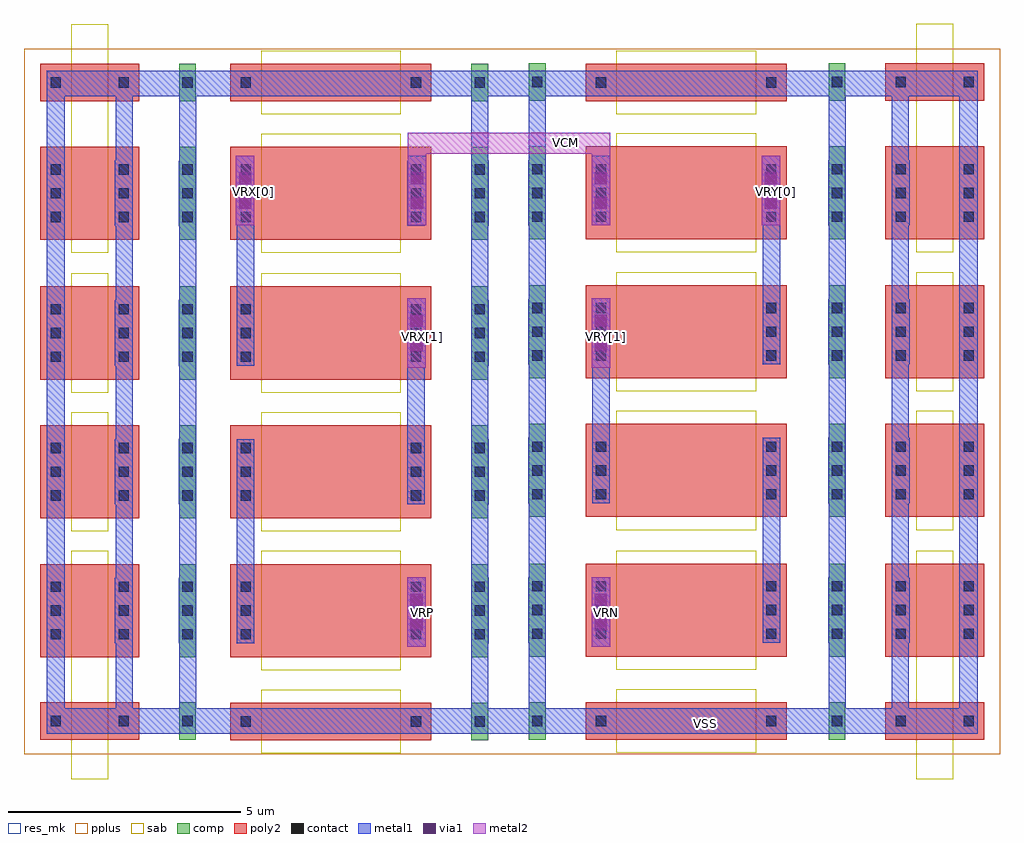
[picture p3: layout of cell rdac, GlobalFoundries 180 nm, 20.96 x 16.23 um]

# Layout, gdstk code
import gdstk
lib = gdstk.Library(unit=1e-6, precision=5e-09)
def R(c, l, rs):  # rectangles x0, y0, x1, y1
    for r in rs: c.add(gdstk.rectangle(r[:2], r[2:], *l))
def A(c, l, x, y, w, h, nx, ny, dx, dy):  # array of equal rectangles
    R(c, l, [(x+i*dx, y+j*dy, x+i*dx+w, y+j*dy+h) for i in range(nx) for j in range(ny)])
comp = (22, 0)
poly2 = (30, 0)
pplus = (31, 0)
contact = (33, 0)
metal1 = (34, 0)
via1 = (35, 0)
metal2 = (36, 0)
sab = (49, 0)
res_mk = (110, 5)

rdac = lib.new_cell('rdac')
A(rdac, comp, -0.96, -5.615, 0.36, 2, 1, 3, 0, 2.98)
A(rdac, comp, 0.27, -2.605, 0.36, 2, 1, 3, 0, 2.98)
R(rdac, comp, [(-0.96,-7.395,-0.6,-6.595), (-7.24,-7.385,-6.88,-6.585), (0.27,-7.385,0.63,-6.585), (6.71,-7.385,7.07,-6.585), (-7.24,-5.615,-6.88,-3.615), (0.27,-5.605,0.63,-3.605), (6.71,-5.605,7.07,-3.605), (6.71,-5.605,7.07,-3.605), (-7.24,-2.635,-6.88,-0.635), (-7.24,-2.635,-6.88,-0.635), (6.71,-2.605,7.07,-0.605), (6.71,-2.605,7.07,-0.605), (-7.24,0.345,-6.88,2.345), (-7.24,0.345,-6.88,2.345), (6.71,0.375,7.07,2.375), (6.71,0.375,7.07,2.375), (-7.24,3.345,-6.88,5.345), (-7.24,3.345,-6.88,5.345), (-0.96,3.345,-0.6,5.345), (6.71,3.355,7.07,5.355), (-7.24,6.325,-6.88,7.125), (-0.96,6.325,-0.6,7.125), (0.27,6.335,0.63,7.135), (6.71,6.335,7.07,7.135)])
A(rdac, poly2, -6.14, -5.615, 4.32, 2, 1, 3, 0, 2.98)
A(rdac, poly2, 1.49, -2.605, 4.32, 2, 1, 3, 0, 2.98)
R(rdac, poly2, [(-6.14,-7.395,-1.82,-6.595), (-10.22,-7.385,-8.1,-6.585), (1.49,-7.385,5.81,-6.585), (7.93,-7.385,10.05,-6.585), (-10.22,-5.615,-8.1,-3.615), (1.49,-5.605,5.81,-3.605), (7.93,-5.605,10.05,-3.605), (7.93,-5.605,10.05,-3.605), (-10.22,-2.635,-8.1,-0.635), (-10.22,-2.635,-8.1,-0.635), (7.93,-2.605,10.05,-0.605), (7.93,-2.605,10.05,-0.605), (-10.22,0.345,-8.1,2.345), (-10.22,0.345,-8.1,2.345), (7.93,0.375,10.05,2.375), (7.93,0.375,10.05,2.375), (-10.22,3.345,-8.1,5.345), (-10.22,3.345,-8.1,5.345), (-6.14,3.345,-1.82,5.345), (7.93,3.355,10.05,5.355), (-10.22,6.325,-8.1,7.125), (-6.14,6.325,-1.82,7.125), (1.49,6.325,5.81,7.125), (7.93,6.335,10.05,7.135)])
A(rdac, pplus, -6.44, -5.915, 4.92, 2.6, 1, 3, 0, 2.98)
A(rdac, pplus, -1.12, -5.775, 0.68, 2.32, 1, 3, 0, 2.98)
A(rdac, pplus, 1.19, -2.905, 4.92, 2.6, 1, 3, 0, 2.98)
A(rdac, pplus, 0.11, -2.765, 0.68, 2.32, 1, 3, 0, 2.98)
R(rdac, pplus, [(-10.57,-7.705,10.39,7.455), (-6.44,-7.695,-1.52,-6.295), (-10.52,-7.685,-7.8,-6.285), (1.19,-7.685,6.11,-6.285), (7.63,-7.685,10.35,-6.285), (-1.12,-7.555,-0.44,-6.435), (-7.4,-7.545,-6.72,-6.425), (0.11,-7.545,0.79,-6.425), (6.55,-7.545,7.23,-6.425), (-10.52,-5.915,-7.8,-3.315), (1.19,-5.905,6.11,-3.305), (7.63,-5.905,10.35,-3.305), (7.63,-5.905,10.35,-3.305), (-7.4,-5.775,-6.72,-3.455), (0.11,-5.765,0.79,-3.445), (6.55,-5.765,7.23,-3.445), (6.55,-5.765,7.23,-3.445), (-10.52,-2.935,-7.8,-0.335), (-10.52,-2.935,-7.8,-0.335), (7.63,-2.905,10.35,-0.305), (7.63,-2.905,10.35,-0.305), (-7.4,-2.795,-6.72,-0.475), (-7.4,-2.795,-6.72,-0.475), (6.55,-2.765,7.23,-0.445), (6.55,-2.765,7.23,-0.445), (-10.52,0.045,-7.8,2.645), (-10.52,0.045,-7.8,2.645), (7.63,0.075,10.35,2.675), (7.63,0.075,10.35,2.675), (-7.4,0.185,-6.72,2.505), (-7.4,0.185,-6.72,2.505), (6.55,0.215,7.23,2.535), (6.55,0.215,7.23,2.535), (-10.52,3.045,-7.8,5.645), (-10.52,3.045,-7.8,5.645), (-6.44,3.045,-1.52,5.645), (7.63,3.055,10.35,5.655), (-7.4,3.185,-6.72,5.505), (-7.4,3.185,-6.72,5.505), (-1.12,3.185,-0.44,5.505), (6.55,3.195,7.23,5.515), (-10.52,6.025,-7.8,7.425), (-6.44,6.025,-1.52,7.425), (1.19,6.025,6.11,7.425), (7.63,6.035,10.35,7.435), (-7.4,6.165,-6.72,7.285), (-1.12,6.165,-0.44,7.285), (0.11,6.175,0.79,7.295), (6.55,6.175,7.23,7.295)])
A(rdac, contact, -10, -5.235, 0.22, 0.22, 1, 3, 0, 0.51)
A(rdac, contact, -8.54, -5.235, 0.22, 0.22, 1, 3, 0, 0.51)
A(rdac, contact, -7.17, -5.235, 0.22, 0.22, 1, 3, 0, 0.51)
A(rdac, contact, -5.92, -5.235, 0.22, 0.22, 1, 3, 0, 0.51)
A(rdac, contact, -2.26, -5.235, 0.22, 0.22, 1, 3, 0, 0.51)
A(rdac, contact, -0.89, -5.235, 0.22, 0.22, 1, 3, 0, 0.51)
A(rdac, contact, 0.34, -5.225, 0.22, 0.22, 1, 3, 0, 0.51)
A(rdac, contact, 1.71, -5.225, 0.22, 0.22, 1, 3, 0, 0.51)
A(rdac, contact, 5.37, -5.225, 0.22, 0.22, 1, 3, 0, 0.51)
A(rdac, contact, -5.92, -2.255, 0.22, 0.22, 1, 3, 0, 0.51)
A(rdac, contact, -2.26, -2.255, 0.22, 0.22, 1, 3, 0, 0.51)
A(rdac, contact, -0.89, -2.255, 0.22, 0.22, 1, 3, 0, 0.51)
A(rdac, contact, 0.34, -2.225, 0.22, 0.22, 1, 3, 0, 0.51)
A(rdac, contact, 1.71, -2.225, 0.22, 0.22, 1, 3, 0, 0.51)
A(rdac, contact, 5.37, -2.225, 0.22, 0.22, 1, 3, 0, 0.51)
A(rdac, contact, -5.92, 0.725, 0.22, 0.22, 1, 3, 0, 0.51)
A(rdac, contact, -2.26, 0.725, 0.22, 0.22, 1, 3, 0, 0.51)
A(rdac, contact, -0.89, 0.725, 0.22, 0.22, 1, 3, 0, 0.51)
A(rdac, contact, 0.34, 0.755, 0.22, 0.22, 1, 3, 0, 0.51)
A(rdac, contact, 1.71, 0.755, 0.22, 0.22, 1, 3, 0, 0.51)
A(rdac, contact, 5.37, 0.755, 0.22, 0.22, 1, 3, 0, 0.51)
A(rdac, contact, -5.92, 3.725, 0.22, 0.22, 1, 3, 0, 0.51)
A(rdac, contact, -2.26, 3.725, 0.22, 0.22, 1, 3, 0, 0.51)
A(rdac, contact, -0.89, 3.725, 0.22, 0.22, 1, 3, 0, 0.51)
A(rdac, contact, 0.34, 3.735, 0.22, 0.22, 1, 3, 0, 0.51)
A(rdac, contact, 1.71, 3.735, 0.22, 0.22, 1, 3, 0, 0.51)
A(rdac, contact, 5.37, 3.735, 0.22, 0.22, 1, 3, 0, 0.51)
A(rdac, contact, 6.78, 3.735, 0.22, 0.22, 1, 3, 0, 0.51)
A(rdac, contact, 8.15, 3.735, 0.22, 0.22, 1, 3, 0, 0.51)
A(rdac, contact, 9.61, 3.735, 0.22, 0.22, 1, 3, 0, 0.51)
R(rdac, contact, [(-5.92,-7.105,-5.7,-6.885), (-2.26,-7.105,-2.04,-6.885), (-0.89,-7.105,-0.67,-6.885), (-10,-7.095,-9.78,-6.875), (-8.54,-7.095,-8.32,-6.875), (-7.17,-7.095,-6.95,-6.875), (0.34,-7.095,0.56,-6.875), (1.71,-7.095,1.93,-6.875), (5.37,-7.095,5.59,-6.875), (6.78,-7.095,7,-6.875), (8.15,-7.095,8.37,-6.875), (9.61,-7.095,9.83,-6.875), (6.78,-5.225,7,-5.005), (6.78,-5.225,7,-5.005), (8.15,-5.225,8.37,-5.005), (8.15,-5.225,8.37,-5.005), (9.61,-5.225,9.83,-5.005), (9.61,-5.225,9.83,-5.005), (6.78,-4.715,7,-4.495), (6.78,-4.715,7,-4.495), (8.15,-4.715,8.37,-4.495), (8.15,-4.715,8.37,-4.495), (9.61,-4.715,9.83,-4.495), (9.61,-4.715,9.83,-4.495), (6.78,-4.205,7,-3.985), (6.78,-4.205,7,-3.985), (8.15,-4.205,8.37,-3.985), (8.15,-4.205,8.37,-3.985), (9.61,-4.205,9.83,-3.985), (9.61,-4.205,9.83,-3.985), (-10,-2.255,-9.78,-2.035), (-10,-2.255,-9.78,-2.035), (-8.54,-2.255,-8.32,-2.035), (-8.54,-2.255,-8.32,-2.035), (-7.17,-2.255,-6.95,-2.035), (-7.17,-2.255,-6.95,-2.035), (6.78,-2.225,7,-2.005), (6.78,-2.225,7,-2.005), (8.15,-2.225,8.37,-2.005), (8.15,-2.225,8.37,-2.005), (9.61,-2.225,9.83,-2.005), (9.61,-2.225,9.83,-2.005), (-10,-1.745,-9.78,-1.525), (-10,-1.745,-9.78,-1.525), (-8.54,-1.745,-8.32,-1.525), (-8.54,-1.745,-8.32,-1.525), (-7.17,-1.745,-6.95,-1.525), (-7.17,-1.745,-6.95,-1.525), (6.78,-1.715,7,-1.495), (6.78,-1.715,7,-1.495), (8.15,-1.715,8.37,-1.495), (8.15,-1.715,8.37,-1.495), (9.61,-1.715,9.83,-1.495), (9.61,-1.715,9.83,-1.495), (-10,-1.235,-9.78,-1.015), (-10,-1.235,-9.78,-1.015), (-8.54,-1.235,-8.32,-1.015), (-8.54,-1.235,-8.32,-1.015), (-7.17,-1.235,-6.95,-1.015), (-7.17,-1.235,-6.95,-1.015), (6.78,-1.205,7,-0.985), (6.78,-1.205,7,-0.985), (8.15,-1.205,8.37,-0.985), (8.15,-1.205,8.37,-0.985), (9.61,-1.205,9.83,-0.985), (9.61,-1.205,9.83,-0.985), (-10,0.725,-9.78,0.945), (-10,0.725,-9.78,0.945), (-8.54,0.725,-8.32,0.945), (-8.54,0.725,-8.32,0.945), (-7.17,0.725,-6.95,0.945), (-7.17,0.725,-6.95,0.945), (6.78,0.755,7,0.975), (6.78,0.755,7,0.975), (8.15,0.755,8.37,0.975), (8.15,0.755,8.37,0.975), (9.61,0.755,9.83,0.975), (9.61,0.755,9.83,0.975), (-10,1.235,-9.78,1.455), (-10,1.235,-9.78,1.455), (-8.54,1.235,-8.32,1.455), (-8.54,1.235,-8.32,1.455), (-7.17,1.235,-6.95,1.455), (-7.17,1.235,-6.95,1.455), (6.78,1.265,7,1.485), (6.78,1.265,7,1.485), (8.15,1.265,8.37,1.485), (8.15,1.265,8.37,1.485), (9.61,1.265,9.83,1.485), (9.61,1.265,9.83,1.485), (-10,1.745,-9.78,1.965), (-10,1.745,-9.78,1.965), (-8.54,1.745,-8.32,1.965), (-8.54,1.745,-8.32,1.965), (-7.17,1.745,-6.95,1.965), (-7.17,1.745,-6.95,1.965), (6.78,1.775,7,1.995), (6.78,1.775,7,1.995), (8.15,1.775,8.37,1.995), (8.15,1.775,8.37,1.995), (9.61,1.775,9.83,1.995), (9.61,1.775,9.83,1.995), (-10,3.725,-9.78,3.945), (-10,3.725,-9.78,3.945), (-8.54,3.725,-8.32,3.945), (-8.54,3.725,-8.32,3.945), (-7.17,3.725,-6.95,3.945), (-7.17,3.725,-6.95,3.945), (-10,4.235,-9.78,4.455), (-10,4.235,-9.78,4.455), (-8.54,4.235,-8.32,4.455), (-8.54,4.235,-8.32,4.455), (-7.17,4.235,-6.95,4.455), (-7.17,4.235,-6.95,4.455), (-10,4.745,-9.78,4.965), (-10,4.745,-9.78,4.965), (-8.54,4.745,-8.32,4.965), (-8.54,4.745,-8.32,4.965), (-7.17,4.745,-6.95,4.965), (-7.17,4.745,-6.95,4.965), (-10,6.615,-9.78,6.835), (-8.54,6.615,-8.32,6.835), (-7.17,6.615,-6.95,6.835), (-5.92,6.615,-5.7,6.835), (-2.26,6.615,-2.04,6.835), (-0.89,6.615,-0.67,6.835), (1.71,6.615,1.93,6.835), (5.37,6.615,5.59,6.835), (0.34,6.625,0.56,6.845), (6.78,6.625,7,6.845), (8.15,6.625,8.37,6.845), (9.61,6.625,9.83,6.845)])
A(rdac, metal1, -6, -5.315, 0.38, 1.4, 1, 3, 0, 2.98)
A(rdac, metal1, -2.34, -5.315, 0.38, 1.4, 1, 3, 0, 2.98)
A(rdac, metal1, -0.97, -5.315, 0.38, 1.4, 1, 3, 0, 2.98)
A(rdac, metal1, 0.26, -2.305, 0.38, 1.4, 1, 3, 0, 2.98)
A(rdac, metal1, 1.63, -2.305, 0.38, 1.4, 1, 3, 0, 2.98)
A(rdac, metal1, 5.29, -2.305, 0.38, 1.4, 1, 3, 0, 2.98)
R(rdac, metal1, [(-10.08,-7.255,-9.7,6.975), (-10.08,-7.255,9.91,-6.715), (-8.6,-7.255,-8.23,6.975), (-7.24,-7.255,-6.87,6.975), (-0.97,-7.255,-0.6,6.975), (0.27,-7.255,0.64,6.975), (6.71,-7.255,7.08,6.975), (8.06,-7.255,8.43,6.975), (9.52,-7.255,9.91,6.975), (-7.24,-7.185,-5.62,-6.795), (-6,-7.185,-5.62,-6.805), (-2.34,-7.185,-1.96,-6.805), (-0.97,-7.185,-0.59,-6.805), (0.27,-7.185,2.05,-6.795), (-10.08,-7.175,-9.7,-6.795), (-8.62,-7.175,-8.24,-6.795), (-7.25,-7.175,-6.87,-6.795), (-2.34,-7.175,-0.59,-6.795), (0.26,-7.175,0.64,-6.795), (1.63,-7.175,2.01,-6.795), (5.29,-7.175,5.67,-6.795), (5.33,-7.175,7.08,-6.795), (6.7,-7.175,7.08,-6.795), (8.07,-7.175,8.45,-6.795), (9.53,-7.175,9.91,-6.795), (-2.34,-5.395,-1.94,-3.895), (1.62,-5.395,2.02,-3.895), (-10.08,-5.315,-9.7,-3.915), (-8.62,-5.315,-8.24,-3.915), (-7.25,-5.315,-6.87,-3.915), (-6,-5.305,-5.62,-0.935), (0.26,-5.305,0.64,-3.905), (1.63,-5.305,2.01,-3.905), (5.29,-5.305,5.67,-3.905), (5.29,-5.305,5.67,-0.905), (6.7,-5.305,7.08,-3.905), (6.7,-5.305,7.08,-3.905), (8.07,-5.305,8.45,-3.905), (8.07,-5.305,8.45,-3.905), (9.53,-5.305,9.91,-3.905), (9.53,-5.305,9.91,-3.905), (-10.08,-2.335,-9.7,-0.935), (-10.08,-2.335,-9.7,-0.935), (-8.62,-2.335,-8.24,-0.935), (-8.62,-2.335,-8.24,-0.935), (-7.25,-2.335,-6.87,-0.935), (-7.25,-2.335,-6.87,-0.935), (-2.34,-2.335,-1.96,2.045), (1.63,-2.305,2.01,2.075), (6.7,-2.305,7.08,-0.905), (6.7,-2.305,7.08,-0.905), (8.07,-2.305,8.45,-0.905), (8.07,-2.305,8.45,-0.905), (9.53,-2.305,9.91,-0.905), (9.53,-2.305,9.91,-0.905), (-2.34,0.595,-1.94,2.095), (1.62,0.595,2.02,2.095), (-10.08,0.645,-9.7,2.045), (-10.08,0.645,-9.7,2.045), (-8.62,0.645,-8.24,2.045), (-8.62,0.645,-8.24,2.045), (-7.25,0.645,-6.87,2.045), (-7.25,0.645,-6.87,2.045), (-6,0.645,-5.62,5.045), (5.29,0.675,5.67,5.045), (6.7,0.675,7.08,2.075), (6.7,0.675,7.08,2.075), (8.07,0.675,8.45,2.075), (8.07,0.675,8.45,2.075), (9.53,0.675,9.91,2.075), (9.53,0.675,9.91,2.075), (-10.08,3.645,-9.7,5.045), (-10.08,3.645,-9.7,5.045), (-8.62,3.645,-8.24,5.045), (-8.62,3.645,-8.24,5.045), (-7.25,3.645,-6.87,5.045), (-7.25,3.645,-6.87,5.045), (-6,3.645,-5.62,5.045), (-2.34,3.645,-1.96,5.045), (-0.97,3.645,-0.59,5.045), (-6.02,3.655,-5.62,5.155), (-2.33,3.655,-1.93,5.155), (1.62,3.655,2.02,5.155), (5.27,3.655,5.67,5.155), (6.7,3.655,7.08,5.055), (8.07,3.655,8.45,5.055), (9.53,3.655,9.91,5.055), (-10.08,6.435,9.91,6.975), (-7.24,6.495,-5.62,6.905), (-2.34,6.525,-0.59,6.905), (0.27,6.525,2.05,6.905), (5.33,6.525,7.08,6.905), (-10.08,6.535,-9.7,6.915), (-8.62,6.535,-8.24,6.915), (-0.97,6.535,-0.59,6.915), (0.26,6.545,0.64,6.925), (6.7,6.545,7.08,6.925), (8.07,6.545,8.45,6.925), (9.53,6.545,9.91,6.925)])
R(rdac, via1, [(-2.27,-5.04,-2.01,-4.78), (1.69,-5.04,1.95,-4.78), (-2.27,-4.51,-2.01,-4.25), (1.69,-4.51,1.95,-4.25), (-2.27,0.95,-2.01,1.21), (1.69,0.95,1.95,1.21), (-2.27,1.48,-2.01,1.74), (1.69,1.48,1.95,1.74), (-5.95,4.01,-5.69,4.27), (-2.26,4.01,-2,4.27), (1.69,4.01,1.95,4.27), (5.34,4.01,5.6,4.27), (-5.95,4.54,-5.69,4.8), (-2.26,4.54,-2,4.8), (1.69,4.54,1.95,4.8), (5.34,4.54,5.6,4.8)])
R(rdac, metal2, [(-2.34,-5.395,-1.94,-3.895), (1.62,-5.395,2.02,-3.895), (-2.34,0.595,-1.94,2.095), (1.62,0.595,2.02,2.095), (-6.02,3.655,-5.62,5.155), (-2.33,3.655,-1.93,5.645), (-2.33,3.655,-1.93,5.155), (1.62,3.655,2.02,5.645), (1.62,3.655,2.02,5.155), (5.27,3.655,5.67,5.155), (-2.33,5.195,2.02,5.645)])
A(rdac, sab, -5.48, -5.895, 3, 2.56, 1, 3, 0, 2.98)
A(rdac, sab, 2.15, -2.885, 3, 2.56, 1, 3, 0, 2.98)
R(rdac, sab, [(-9.56,-8.24,-8.76,-5.73), (8.59,-8.24,9.39,-5.73), (-5.48,-7.675,-2.48,-6.315), (2.15,-7.665,5.15,-6.305), (-9.56,-5.895,-8.76,-3.335), (2.15,-5.885,5.15,-3.325), (8.59,-5.885,9.39,-3.325), (8.59,-5.885,9.39,-3.325), (-9.56,-2.915,-8.76,-0.355), (-9.56,-2.915,-8.76,-0.355), (8.59,-2.885,9.39,-0.325), (8.59,-2.885,9.39,-0.325), (-9.56,0.065,-8.76,2.625), (-9.56,0.065,-8.76,2.625), (8.59,0.095,9.39,2.655), (8.59,0.095,9.39,2.655), (-9.56,3.065,-8.76,5.625), (-9.56,3.065,-8.76,5.625), (-5.48,3.065,-2.48,5.625), (8.59,3.075,9.39,5.635), (-9.56,5.47,-8.76,7.98), (8.59,5.48,9.39,7.99), (-5.48,6.045,-2.48,7.405), (2.15,6.045,5.15,7.405)])
A(rdac, res_mk, -5.48, -5.615, 3, 2, 1, 3, 0, 2.98)
A(rdac, res_mk, 2.15, -2.605, 3, 2, 1, 3, 0, 2.98)
R(rdac, res_mk, [(-5.48,-7.395,-2.48,-6.595), (-9.56,-7.385,-8.76,-6.585), (2.15,-7.385,5.15,-6.585), (8.59,-7.385,9.39,-6.585), (-9.56,-5.615,-8.76,-3.615), (2.15,-5.605,5.15,-3.605), (8.59,-5.605,9.39,-3.605), (8.59,-5.605,9.39,-3.605), (-9.56,-2.635,-8.76,-0.635), (-9.56,-2.635,-8.76,-0.635), (8.59,-2.605,9.39,-0.605), (8.59,-2.605,9.39,-0.605), (-9.56,0.345,-8.76,2.345), (-9.56,0.345,-8.76,2.345), (8.59,0.375,9.39,2.375), (8.59,0.375,9.39,2.375), (-9.56,3.345,-8.76,5.345), (-9.56,3.345,-8.76,5.345), (-5.48,3.345,-2.48,5.345), (8.59,3.355,9.39,5.355), (-9.56,6.325,-8.76,7.125), (-5.48,6.325,-2.48,7.125), (2.15,6.325,5.15,7.125), (8.59,6.335,9.39,7.135)])
rdac.add(gdstk.Label('VSS', (4.07,-7.035), layer=34, texttype=10))
rdac.add(gdstk.Label('VCM', (1.06,5.435), layer=36, texttype=10))
rdac.add(gdstk.Label('VRX[0]', (-5.645,4.39), layer=36, texttype=10))
rdac.add(gdstk.Label('VRX[1]', (-2.01,1.265), layer=36, texttype=10))
rdac.add(gdstk.Label('VRY[0]', (5.58,4.395), layer=36, texttype=10))
rdac.add(gdstk.Label('VRY[1]', (1.945,1.27), layer=36, texttype=10))
rdac.add(gdstk.Label('VRP', (-2.01,-4.655), layer=36, texttype=10))
rdac.add(gdstk.Label('VRN', (1.945,-4.65), layer=36, texttype=10))

lib.write_gds('rdac.gds')
